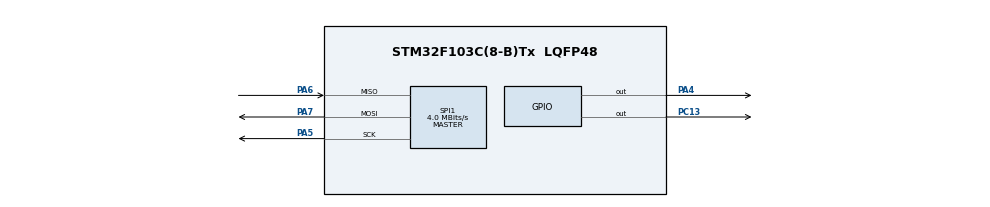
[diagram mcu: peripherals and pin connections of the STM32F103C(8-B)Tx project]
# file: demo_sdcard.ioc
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FATFS._MAX_SS=4096
FATFS._USE_LFN=1
Mcu.Family=STM32F1
Mcu.Name=STM32F103C(8-B)Tx
Mcu.Package=LQFP48
NVIC.PriorityGroup=NVIC_PRIORITYGROUP_4
PA4.Signal=GPIO_Output
PA5.Mode=Full_Duplex_Master
PA5.Signal=SPI1_SCK
PA6.Mode=Full_Duplex_Master
PA6.Signal=SPI1_MISO
PA7.Mode=Full_Duplex_Master
PA7.Signal=SPI1_MOSI
PC13-TAMPER-RTC.PinState=GPIO_PIN_SET
PC13-TAMPER-RTC.Signal=GPIO_Output
ProjectManager.HeapSize=0x200
ProjectManager.StackSize=0x400
ProjectManager.TargetToolchain=STM32CubeIDE
RCC.APB1Freq_Value=8000000
RCC.APB2Freq_Value=8000000
SPI1.CalculateBaudRate=4.0 MBits/s
SPI1.Direction=SPI_DIRECTION_2LINES
SPI1.Mode=SPI_MODE_MASTER
SPI1.VirtualType=VM_MASTER
VP_FATFS_VS_Generic.Mode=User_defined
board=custom

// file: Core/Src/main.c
/* USER CODE BEGIN Header */
/**
  ******************************************************************************
  * @file           : main.c
  * @brief          : Main program body
  ******************************************************************************
  * @attention
  *
  * Copyright (c) 2025 STMicroelectronics.
  * All rights reserved.
  *
  * This software is licensed under terms that can be found in the LICENSE file
  * in the root directory of this software component.
  * If no LICENSE file comes with this software, it is provided AS-IS.
  *
  ******************************************************************************
  */
/* USER CODE END Header */
#include "main.h"
#include "fatfs.h"
#include "morse.h"
#include <stdio.h>
#include <stdbool.h>

SPI_HandleTypeDef hspi1;

/* USER CODE BEGIN PV */
FATFS fs;
FIL fil;
volatile uint8_t Timer1, Timer2;
/* USER CODE END PV */

void SystemClock_Config(void);
static void MX_GPIO_Init(void);
static void MX_SPI1_Init(void);
//bool check_f_result(int id, FRESULT result);

/* USER CODE BEGIN PFP */

void toggle_led(void);
/* USER CODE END PFP */

int main(void)
{

  /* MCU Configuration--------------------------------------------------------*/

HEAVEN:
  /* Reset of all peripherals, Initializes the Flash interface and the Systick. */
  HAL_Init();

  /* Configure the system clock */
  SystemClock_Config();

  /* Initialize all configured peripherals */
  MX_GPIO_Init();
  MX_SPI1_Init();
  MX_FATFS_Init();
  /* USER CODE BEGIN 2 */

  //while(lock)
  for(int i=0; i < 10; i++)
  {
	  HAL_Delay(100);
	  EARTH:
	  toggle_led();
  }

  HAL_GPIO_WritePin(GPIOC, GPIO_PIN_13, GPIO_PIN_SET);

  f_mount(&fs, "", 1);
  if ( f_open(&fil, "test.txt", FA_OPEN_ALWAYS | FA_WRITE | FA_READ) != FR_OK){
	  if (! __HAL_RCC_GET_FLAG(RCC_FLAG_SFTRST)){
		  HAL_NVIC_SystemReset();
	  }

	  Error_Handler();
  }

  __HAL_RCC_CLEAR_RESET_FLAGS();

  f_lseek(&fil, fil.fsize);
  f_puts("This is an example text to check SD Card Module with STM32 Blue Pill\n", &fil);
  f_close(&fil);

  /* USER CODE END 2 */

  /* Infinite loop */
  while (1)
  {
	  HAL_GPIO_WritePin(GPIOC, GPIO_PIN_13, GPIO_PIN_RESET);
    /* USER CODE BEGIN 3 */
  }

  HELL:
  	  HAL_NVIC_SystemReset();
   	  while(1) morseCodeInterpreter("SOS ");

  	  //goto HEAVEN;
  /* USER CODE END 3 */
}
//
//bool check_f_result(int id, FRESULT result){
//	char buffer[20] = "";
//	if (result == FR_OK) return true;
//	sprintf(buffer, "%i %i    ", id, result);
//	morseCodeInterpreter(buffer);
//	return false;
//}

void SystemClock_Config(void)
{
  RCC_OscInitTypeDef RCC_OscInitStruct = {0};
  RCC_ClkInitTypeDef RCC_ClkInitStruct = {0};

  /** Initializes the RCC Oscillators according to the specified parameters
  * in the RCC_OscInitTypeDef structure.
  */
  RCC_OscInitStruct.OscillatorType = RCC_OSCILLATORTYPE_HSI;
  RCC_OscInitStruct.HSIState = RCC_HSI_ON;
  RCC_OscInitStruct.HSICalibrationValue = RCC_HSICALIBRATION_DEFAULT;
  RCC_OscInitStruct.PLL.PLLState = RCC_PLL_NONE;
  if (HAL_RCC_OscConfig(&RCC_OscInitStruct) != HAL_OK)
  {
    Error_Handler();
  }

  /** Initializes the CPU, AHB and APB buses clocks
  */
  RCC_ClkInitStruct.ClockType = RCC_CLOCKTYPE_HCLK|RCC_CLOCKTYPE_SYSCLK
                              |RCC_CLOCKTYPE_PCLK1|RCC_CLOCKTYPE_PCLK2;
  RCC_ClkInitStruct.SYSCLKSource = RCC_SYSCLKSOURCE_HSI;
  RCC_ClkInitStruct.AHBCLKDivider = RCC_SYSCLK_DIV1;
  RCC_ClkInitStruct.APB1CLKDivider = RCC_HCLK_DIV1;
  RCC_ClkInitStruct.APB2CLKDivider = RCC_HCLK_DIV1;

  if (HAL_RCC_ClockConfig(&RCC_ClkInitStruct, FLASH_LATENCY_0) != HAL_OK)
  {
    Error_Handler();
  }
}

static void MX_SPI1_Init(void)
{

  /* SPI1 parameter configuration*/
  hspi1.Instance = SPI1;
  hspi1.Init.Mode = SPI_MODE_MASTER;
  hspi1.Init.Direction = SPI_DIRECTION_2LINES;
  hspi1.Init.DataSize = SPI_DATASIZE_8BIT;
  hspi1.Init.CLKPolarity = SPI_POLARITY_LOW;
  hspi1.Init.CLKPhase = SPI_PHASE_1EDGE;
  hspi1.Init.NSS = SPI_NSS_SOFT;
  hspi1.Init.BaudRatePrescaler = SPI_BAUDRATEPRESCALER_2;
  hspi1.Init.FirstBit = SPI_FIRSTBIT_MSB;
  hspi1.Init.TIMode = SPI_TIMODE_DISABLE;
  hspi1.Init.CRCCalculation = SPI_CRCCALCULATION_DISABLE;
  hspi1.Init.CRCPolynomial = 10;
  if (HAL_SPI_Init(&hspi1) != HAL_OK)
  {
    Error_Handler();
  }

}

static void MX_GPIO_Init(void)
{
  GPIO_InitTypeDef GPIO_InitStruct = {0};

  /* GPIO Ports Clock Enable */
  __HAL_RCC_GPIOC_CLK_ENABLE();
  __HAL_RCC_GPIOA_CLK_ENABLE();

  /*Configure GPIO pin Output Level */
  HAL_GPIO_WritePin(GPIOC, GPIO_PIN_13, GPIO_PIN_SET);

  /*Configure GPIO pin Output Level */
  HAL_GPIO_WritePin(GPIOA, GPIO_PIN_4, GPIO_PIN_RESET);

  /*Configure GPIO pin : PC13 */
  GPIO_InitStruct.Pin = GPIO_PIN_13;
  GPIO_InitStruct.Mode = GPIO_MODE_OUTPUT_PP;
  GPIO_InitStruct.Pull = GPIO_NOPULL;
  GPIO_InitStruct.Speed = GPIO_SPEED_FREQ_LOW;
  HAL_GPIO_Init(GPIOC, &GPIO_InitStruct);

  /*Configure GPIO pin : PA4 */
  GPIO_InitStruct.Pin = GPIO_PIN_4;
  GPIO_InitStruct.Mode = GPIO_MODE_OUTPUT_PP;
  GPIO_InitStruct.Pull = GPIO_NOPULL;
  GPIO_InitStruct.Speed = GPIO_SPEED_FREQ_LOW;
  HAL_GPIO_Init(GPIOA, &GPIO_InitStruct);

}

/* USER CODE BEGIN 4 */
void toggle_led(void){
	HAL_GPIO_TogglePin(GPIOC, GPIO_PIN_13);
}
/* USER CODE END 4 */

void Error_Handler(void)
{
  /* USER CODE BEGIN Error_Handler_Debug */
  /* User can add his own implementation to report the HAL error return state */
  /* __disable_irq(); */
  while(1) morseCodeInterpreter("SOS ");
  /* USER CODE END Error_Handler_Debug */
}
